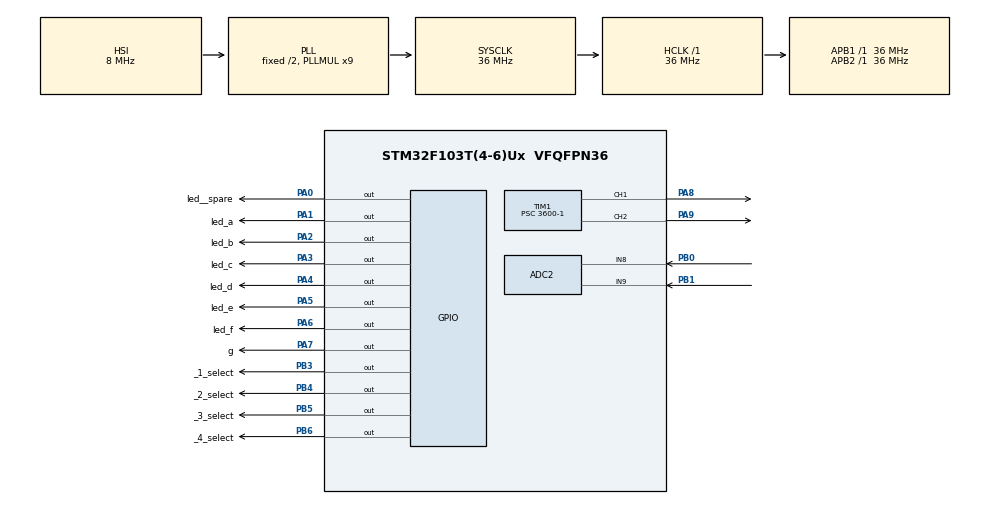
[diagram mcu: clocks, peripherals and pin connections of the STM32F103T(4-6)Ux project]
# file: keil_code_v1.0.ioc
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ADC2.Channel-0\#ChannelRegularConversion=ADC_CHANNEL_9
ADC2.NbrOfConversionFlag=1
ADC2.Rank-0\#ChannelRegularConversion=1
ADC2.SamplingTime-0\#ChannelRegularConversion=ADC_SAMPLETIME_1CYCLE_5
Mcu.Family=STM32F1
Mcu.Name=STM32F103T(4-6)Ux
Mcu.Package=VFQFPN36
NVIC.PriorityGroup=NVIC_PRIORITYGROUP_4
PA0-WKUP.GPIO_Label=led__spare
PA0-WKUP.Signal=GPIO_Output
PA1.GPIO_Label=led_a
PA1.Signal=GPIO_Output
PA13.Mode=Serial_Wire
PA13.Signal=SYS_JTMS-SWDIO
PA14.Mode=Serial_Wire
PA14.Signal=SYS_JTCK-SWCLK
PA2.GPIO_Label=led_b
PA2.Signal=GPIO_Output
PA3.GPIO_Label=led_c
PA3.Signal=GPIO_Output
PA4.GPIO_Label=led_d
PA4.Signal=GPIO_Output
PA5.GPIO_Label=led_e
PA5.Signal=GPIO_Output
PA6.GPIO_Label=led_f
PA6.Signal=GPIO_Output
PA7.GPIO_Label=g
PA7.Signal=GPIO_Output
PA8.Signal=S_TIM1_CH1
PA9.Signal=S_TIM1_CH2
PB0.Signal=ADCx_IN8
PB1.Signal=ADCx_IN9
PB3.GPIO_Label=_1_select
PB3.PinState=GPIO_PIN_SET
PB3.Signal=GPIO_Output
PB4.GPIO_Label=_2_select
PB4.PinState=GPIO_PIN_SET
PB4.Signal=GPIO_Output
PB5.GPIO_Label=_3_select
PB5.PinState=GPIO_PIN_SET
PB5.Signal=GPIO_Output
PB6.GPIO_Label=_4_select
PB6.PinState=GPIO_PIN_SET
PB6.Signal=GPIO_Output
ProjectManager.HeapSize=0x200
ProjectManager.StackSize=0x400
ProjectManager.TargetToolchain=MDK-ARM V5.32
RCC.ADCPresc=RCC_ADCPCLK2_DIV4
RCC.AHBFreq_Value=36000000
RCC.APB1Freq_Value=36000000
RCC.APB1TimFreq_Value=36000000
RCC.APB2Freq_Value=36000000
RCC.APB2TimFreq_Value=36000000
RCC.HCLKFreq_Value=36000000
RCC.PLLMUL=RCC_PLL_MUL9
RCC.SYSCLKFreq_VALUE=36000000
RCC.SYSCLKSource=RCC_SYSCLKSOURCE_PLLCLK
RCC.USBFreq_Value=36000000
SH.ADCx_IN8.0=ADC2_IN8,IN8
SH.ADCx_IN9.0=ADC2_IN9,IN9
SH.S_TIM1_CH1.0=TIM1_CH1,PWM Generation1 CH1
SH.S_TIM1_CH2.0=TIM1_CH2,PWM Generation2 CH2
TIM1.AutoReloadPreload=TIM_AUTORELOAD_PRELOAD_ENABLE
TIM1.Channel-PWM\ Generation1\ CH1=TIM_CHANNEL_1
TIM1.Channel-PWM\ Generation2\ CH2=TIM_CHANNEL_2
TIM1.Period=100-1
TIM1.Prescaler=3600-1
TIM1.Pulse-PWM\ Generation1\ CH1=50
TIM1.Pulse-PWM\ Generation2\ CH2=80
VP_TIM1_VS_ClockSourceINT.Mode=Internal
board=custom

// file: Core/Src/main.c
/* USER CODE BEGIN Header */
/**
  ******************************************************************************
  * @file           : main.c
  * @brief          : Main program body
  ******************************************************************************
  * @attention
  *
  * <h2><center>&copy; Copyright (c) 2021 STMicroelectronics.
  * All rights reserved.</center></h2>
  *
  * This software component is licensed by ST under BSD 3-Clause license,
  * the "License"; You may not use this file except in compliance with the
  * License. You may obtain a copy of the License at:
  *                        opensource.org/licenses/BSD-3-Clause
  *
  ******************************************************************************
  */
/* USER CODE END Header */
#include "main.h"
#include "adc.h"
#include "tim.h"
#include "gpio.h"

/* USER CODE BEGIN PD */
//void number_display(int _num){

////	switch (_num){
////		case 1:
////			//0110000
//		HAL_GPIO_WritePin(GPIOA,GPIO_PIN_1,GPIO_PIN_RESET);
//		HAL_GPIO_WritePin(GPIOA,GPIO_PIN_2,GPIO_PIN_SET);
//		HAL_GPIO_WritePin(GPIOA,GPIO_PIN_3,GPIO_PIN_SET);
//		HAL_GPIO_WritePin(GPIOA,GPIO_PIN_4,GPIO_PIN_RESET);
//		HAL_GPIO_WritePin(GPIOA,GPIO_PIN_5,GPIO_PIN_RESET);
//		HAL_GPIO_WritePin(GPIOA,GPIO_PIN_6,GPIO_PIN_RESET);
//		HAL_GPIO_WritePin(GPIOA,GPIO_PIN_7,GPIO_PIN_RESET);
	//	break;

//		case 2:
//			//1101101
//		HAL_GPIO_WritePin(GPIOA,GPIO_PIN_1,GPIO_PIN_SET);
//		HAL_GPIO_WritePin(GPIOA,GPIO_PIN_2,GPIO_PIN_SET);
//		HAL_GPIO_WritePin(GPIOA,GPIO_PIN_3,GPIO_PIN_RESET);
//		HAL_GPIO_WritePin(GPIOA,GPIO_PIN_4,GPIO_PIN_SET);
//		HAL_GPIO_WritePin(GPIOA,GPIO_PIN_5,GPIO_PIN_SET);
//		HAL_GPIO_WritePin(GPIOA,GPIO_PIN_6,GPIO_PIN_RESET);
//		HAL_GPIO_WritePin(GPIOA,GPIO_PIN_7,GPIO_PIN_SET);
//		break;
////
//		case 3:
//		HAL_GPIO_WritePin(GPIOA,GPIO_PIN_1,GPIO_PIN_SET);
//		HAL_GPIO_WritePin(GPIOA,GPIO_PIN_2,GPIO_PIN_SET);
//		HAL_GPIO_WritePin(GPIOA,GPIO_PIN_3,GPIO_PIN_SET);
//		HAL_GPIO_WritePin(GPIOA,GPIO_PIN_4,GPIO_PIN_SET);
//		HAL_GPIO_WritePin(GPIOA,GPIO_PIN_5,GPIO_PIN_SET);
//		HAL_GPIO_WritePin(GPIOA,GPIO_PIN_6,GPIO_PIN_SET);
//		HAL_GPIO_WritePin(GPIOA,GPIO_PIN_7,GPIO_PIN_SET);
//		break;
//
//		case 4:
//		HAL_GPIO_WritePin(GPIOA,GPIO_PIN_1,GPIO_PIN_SET);
//		HAL_GPIO_WritePin(GPIOA,GPIO_PIN_2,GPIO_PIN_SET);
//		HAL_GPIO_WritePin(GPIOA,GPIO_PIN_3,GPIO_PIN_SET);
//		HAL_GPIO_WritePin(GPIOA,GPIO_PIN_4,GPIO_PIN_SET);
//		HAL_GPIO_WritePin(GPIOA,GPIO_PIN_5,GPIO_PIN_SET);
//		HAL_GPIO_WritePin(GPIOA,GPIO_PIN_6,GPIO_PIN_SET);
//		HAL_GPIO_WritePin(GPIOA,GPIO_PIN_7,GPIO_PIN_SET);
//		break;
//
//		case 5:
//		HAL_GPIO_WritePin(GPIOA,GPIO_PIN_1,GPIO_PIN_SET);
//		HAL_GPIO_WritePin(GPIOA,GPIO_PIN_2,GPIO_PIN_SET);
//		HAL_GPIO_WritePin(GPIOA,GPIO_PIN_3,GPIO_PIN_SET);
//		HAL_GPIO_WritePin(GPIOA,GPIO_PIN_4,GPIO_PIN_SET);
//		HAL_GPIO_WritePin(GPIOA,GPIO_PIN_5,GPIO_PIN_SET);
//		HAL_GPIO_WritePin(GPIOA,GPIO_PIN_6,GPIO_PIN_SET);
//		HAL_GPIO_WritePin(GPIOA,GPIO_PIN_7,GPIO_PIN_SET);
//		break;
//
//		case 6:
//		HAL_GPIO_WritePin(GPIOA,GPIO_PIN_1,GPIO_PIN_SET);
//		HAL_GPIO_WritePin(GPIOA,GPIO_PIN_2,GPIO_PIN_SET);
//		HAL_GPIO_WritePin(GPIOA,GPIO_PIN_3,GPIO_PIN_SET);
//		HAL_GPIO_WritePin(GPIOA,GPIO_PIN_4,GPIO_PIN_SET);
//		HAL_GPIO_WritePin(GPIOA,GPIO_PIN_5,GPIO_PIN_SET);
//		HAL_GPIO_WritePin(GPIOA,GPIO_PIN_6,GPIO_PIN_SET);
//		HAL_GPIO_WritePin(GPIOA,GPIO_PIN_7,GPIO_PIN_SET);
//		break;
//
//		case 7:
//		HAL_GPIO_WritePin(GPIOA,GPIO_PIN_1,GPIO_PIN_SET);
//		HAL_GPIO_WritePin(GPIOA,GPIO_PIN_2,GPIO_PIN_SET);
//		HAL_GPIO_WritePin(GPIOA,GPIO_PIN_3,GPIO_PIN_SET);
//		HAL_GPIO_WritePin(GPIOA,GPIO_PIN_4,GPIO_PIN_SET);
//		HAL_GPIO_WritePin(GPIOA,GPIO_PIN_5,GPIO_PIN_SET);
//		HAL_GPIO_WritePin(GPIOA,GPIO_PIN_6,GPIO_PIN_SET);
//		HAL_GPIO_WritePin(GPIOA,GPIO_PIN_7,GPIO_PIN_SET);
//		break;
//
//		case 8:
//		HAL_GPIO_WritePin(GPIOA,GPIO_PIN_1,GPIO_PIN_SET);
//		HAL_GPIO_WritePin(GPIOA,GPIO_PIN_2,GPIO_PIN_SET);
//		HAL_GPIO_WritePin(GPIOA,GPIO_PIN_3,GPIO_PIN_SET);
//		HAL_GPIO_WritePin(GPIOA,GPIO_PIN_4,GPIO_PIN_SET);
//		HAL_GPIO_WritePin(GPIOA,GPIO_PIN_5,GPIO_PIN_SET);
//		HAL_GPIO_WritePin(GPIOA,GPIO_PIN_6,GPIO_PIN_SET);
//		HAL_GPIO_WritePin(GPIOA,GPIO_PIN_7,GPIO_PIN_SET);
//		break;
//
//		case 9:
//		HAL_GPIO_WritePin(GPIOA,GPIO_PIN_1,GPIO_PIN_SET);
//		HAL_GPIO_WritePin(GPIOA,GPIO_PIN_2,GPIO_PIN_SET);
//		HAL_GPIO_WritePin(GPIOA,GPIO_PIN_3,GPIO_PIN_SET);
//		HAL_GPIO_WritePin(GPIOA,GPIO_PIN_4,GPIO_PIN_SET);
//		HAL_GPIO_WritePin(GPIOA,GPIO_PIN_5,GPIO_PIN_SET);
//		HAL_GPIO_WritePin(GPIOA,GPIO_PIN_6,GPIO_PIN_SET);
//		HAL_GPIO_WritePin(GPIOA,GPIO_PIN_7,GPIO_PIN_SET);
//
//		break;
//		default:
//			break;
//	}
//
//}
/* USER CODE END PD */

void SystemClock_Config(void);

/* USER CODE BEGIN 0 */
void number_display(int _num);
/* USER CODE END 0 */

int main(void)
{

  /* MCU Configuration--------------------------------------------------------*/

  /* Reset of all peripherals, Initializes the Flash interface and the Systick. */
  HAL_Init();

  /* Configure the system clock */
  SystemClock_Config();

  /* Initialize all configured peripherals */
  MX_GPIO_Init();
  MX_TIM1_Init();
  MX_ADC2_Init();
  /* USER CODE BEGIN 2 */

	HAL_TIM_PWM_Start(&htim1,TIM_CHANNEL_1);
	HAL_TIM_PWM_Start(&htim1,TIM_CHANNEL_2);
  /* USER CODE END 2 */

  /* Infinite loop */
  /* USER CODE BEGIN WHILE */

	int _funny_time=100;
  while (1)
  {

		number_display(1);

//		HAL_GPIO_WritePin(GPIOA,GPIO_PIN_1,GPIO_PIN_SET);
//		HAL_GPIO_WritePin(GPIOA,GPIO_PIN_2,GPIO_PIN_SET);
//		HAL_GPIO_WritePin(GPIOA,GPIO_PIN_3,GPIO_PIN_SET);
//		HAL_GPIO_WritePin(GPIOA,GPIO_PIN_4,GPIO_PIN_SET);
//		HAL_GPIO_WritePin(GPIOA,GPIO_PIN_5,GPIO_PIN_SET);
//		HAL_GPIO_WritePin(GPIOA,GPIO_PIN_6,GPIO_PIN_SET);
//		HAL_GPIO_WritePin(GPIOA,GPIO_PIN_7,GPIO_PIN_SET);

		HAL_GPIO_WritePin(GPIOB,GPIO_PIN_3,GPIO_PIN_RESET); //3 _led1
		HAL_Delay(_funny_time);
		HAL_GPIO_WritePin(GPIOB,GPIO_PIN_3,GPIO_PIN_SET);
		//HAL_Delay(1);

		HAL_GPIO_WritePin(GPIOB,GPIO_PIN_4,GPIO_PIN_RESET);  //4 _led2
		HAL_Delay(_funny_time);
		HAL_GPIO_WritePin(GPIOB,GPIO_PIN_4,GPIO_PIN_SET);
		//HAL_Delay(1);

		HAL_GPIO_WritePin(GPIOB,GPIO_PIN_5,GPIO_PIN_RESET); //5  _led3
		HAL_Delay(_funny_time);
		HAL_GPIO_WritePin(GPIOB,GPIO_PIN_5,GPIO_PIN_SET);
		//HAL_Delay(1);

		HAL_GPIO_WritePin(GPIOB,GPIO_PIN_6,GPIO_PIN_RESET); //6  _led4
		HAL_Delay(_funny_time);
		HAL_GPIO_WritePin(GPIOB,GPIO_PIN_6,GPIO_PIN_SET);
		//HAL_Delay(1);
    /* USER CODE END WHILE */

  }
}

void SystemClock_Config(void)
{
  RCC_OscInitTypeDef RCC_OscInitStruct = {0};
  RCC_ClkInitTypeDef RCC_ClkInitStruct = {0};
  RCC_PeriphCLKInitTypeDef PeriphClkInit = {0};

  /** Initializes the RCC Oscillators according to the specified parameters
  * in the RCC_OscInitTypeDef structure.
  */
  RCC_OscInitStruct.OscillatorType = RCC_OSCILLATORTYPE_HSI;
  RCC_OscInitStruct.HSIState = RCC_HSI_ON;
  RCC_OscInitStruct.HSICalibrationValue = RCC_HSICALIBRATION_DEFAULT;
  RCC_OscInitStruct.PLL.PLLState = RCC_PLL_ON;
  RCC_OscInitStruct.PLL.PLLSource = RCC_PLLSOURCE_HSI_DIV2;
  RCC_OscInitStruct.PLL.PLLMUL = RCC_PLL_MUL9;
  if (HAL_RCC_OscConfig(&RCC_OscInitStruct) != HAL_OK)
  {
    Error_Handler();
  }
  /** Initializes the CPU, AHB and APB buses clocks
  */
  RCC_ClkInitStruct.ClockType = RCC_CLOCKTYPE_HCLK|RCC_CLOCKTYPE_SYSCLK
                              |RCC_CLOCKTYPE_PCLK1|RCC_CLOCKTYPE_PCLK2;
  RCC_ClkInitStruct.SYSCLKSource = RCC_SYSCLKSOURCE_PLLCLK;
  RCC_ClkInitStruct.AHBCLKDivider = RCC_SYSCLK_DIV1;
  RCC_ClkInitStruct.APB1CLKDivider = RCC_HCLK_DIV1;
  RCC_ClkInitStruct.APB2CLKDivider = RCC_HCLK_DIV1;

  if (HAL_RCC_ClockConfig(&RCC_ClkInitStruct, FLASH_LATENCY_1) != HAL_OK)
  {
    Error_Handler();
  }
  PeriphClkInit.PeriphClockSelection = RCC_PERIPHCLK_ADC;
  PeriphClkInit.AdcClockSelection = RCC_ADCPCLK2_DIV4;
  if (HAL_RCCEx_PeriphCLKConfig(&PeriphClkInit) != HAL_OK)
  {
    Error_Handler();
  }
}

/* USER CODE BEGIN 4 */

void number_display(int _num){

	switch (_num){
		case 1:
			//0110000
		HAL_GPIO_WritePin(GPIOA,GPIO_PIN_1,GPIO_PIN_RESET);
		HAL_GPIO_WritePin(GPIOA,GPIO_PIN_2,GPIO_PIN_SET);
		HAL_GPIO_WritePin(GPIOA,GPIO_PIN_3,GPIO_PIN_SET);
		HAL_GPIO_WritePin(GPIOA,GPIO_PIN_4,GPIO_PIN_RESET);
		HAL_GPIO_WritePin(GPIOA,GPIO_PIN_5,GPIO_PIN_RESET);
		HAL_GPIO_WritePin(GPIOA,GPIO_PIN_6,GPIO_PIN_RESET);
		HAL_GPIO_WritePin(GPIOA,GPIO_PIN_7,GPIO_PIN_RESET);
		break;

		case 2:
			//1101101
		HAL_GPIO_WritePin(GPIOA,GPIO_PIN_1,GPIO_PIN_SET);
		HAL_GPIO_WritePin(GPIOA,GPIO_PIN_2,GPIO_PIN_SET);
		HAL_GPIO_WritePin(GPIOA,GPIO_PIN_3,GPIO_PIN_RESET);
		HAL_GPIO_WritePin(GPIOA,GPIO_PIN_4,GPIO_PIN_SET);
		HAL_GPIO_WritePin(GPIOA,GPIO_PIN_5,GPIO_PIN_SET);
		HAL_GPIO_WritePin(GPIOA,GPIO_PIN_6,GPIO_PIN_RESET);
		HAL_GPIO_WritePin(GPIOA,GPIO_PIN_7,GPIO_PIN_SET);
		break;
//
		case 3:
		HAL_GPIO_WritePin(GPIOA,GPIO_PIN_1,GPIO_PIN_SET);
		HAL_GPIO_WritePin(GPIOA,GPIO_PIN_2,GPIO_PIN_SET);
		HAL_GPIO_WritePin(GPIOA,GPIO_PIN_3,GPIO_PIN_SET);
		HAL_GPIO_WritePin(GPIOA,GPIO_PIN_4,GPIO_PIN_SET);
		HAL_GPIO_WritePin(GPIOA,GPIO_PIN_5,GPIO_PIN_SET);
		HAL_GPIO_WritePin(GPIOA,GPIO_PIN_6,GPIO_PIN_SET);
		HAL_GPIO_WritePin(GPIOA,GPIO_PIN_7,GPIO_PIN_SET);
		break;

		case 4:
		HAL_GPIO_WritePin(GPIOA,GPIO_PIN_1,GPIO_PIN_SET);
		HAL_GPIO_WritePin(GPIOA,GPIO_PIN_2,GPIO_PIN_SET);
		HAL_GPIO_WritePin(GPIOA,GPIO_PIN_3,GPIO_PIN_SET);
		HAL_GPIO_WritePin(GPIOA,GPIO_PIN_4,GPIO_PIN_SET);
		HAL_GPIO_WritePin(GPIOA,GPIO_PIN_5,GPIO_PIN_SET);
		HAL_GPIO_WritePin(GPIOA,GPIO_PIN_6,GPIO_PIN_SET);
		HAL_GPIO_WritePin(GPIOA,GPIO_PIN_7,GPIO_PIN_SET);
		break;

		case 5:
		HAL_GPIO_WritePin(GPIOA,GPIO_PIN_1,GPIO_PIN_SET);
		HAL_GPIO_WritePin(GPIOA,GPIO_PIN_2,GPIO_PIN_SET);
		HAL_GPIO_WritePin(GPIOA,GPIO_PIN_3,GPIO_PIN_SET);
		HAL_GPIO_WritePin(GPIOA,GPIO_PIN_4,GPIO_PIN_SET);
		HAL_GPIO_WritePin(GPIOA,GPIO_PIN_5,GPIO_PIN_SET);
		HAL_GPIO_WritePin(GPIOA,GPIO_PIN_6,GPIO_PIN_SET);
		HAL_GPIO_WritePin(GPIOA,GPIO_PIN_7,GPIO_PIN_SET);
		break;

		case 6:
		HAL_GPIO_WritePin(GPIOA,GPIO_PIN_1,GPIO_PIN_SET);
		HAL_GPIO_WritePin(GPIOA,GPIO_PIN_2,GPIO_PIN_SET);
		HAL_GPIO_WritePin(GPIOA,GPIO_PIN_3,GPIO_PIN_SET);
		HAL_GPIO_WritePin(GPIOA,GPIO_PIN_4,GPIO_PIN_SET);
		HAL_GPIO_WritePin(GPIOA,GPIO_PIN_5,GPIO_PIN_SET);
		HAL_GPIO_WritePin(GPIOA,GPIO_PIN_6,GPIO_PIN_SET);
		HAL_GPIO_WritePin(GPIOA,GPIO_PIN_7,GPIO_PIN_SET);
		break;

		case 7:
		HAL_GPIO_WritePin(GPIOA,GPIO_PIN_1,GPIO_PIN_SET);
		HAL_GPIO_WritePin(GPIOA,GPIO_PIN_2,GPIO_PIN_SET);
		HAL_GPIO_WritePin(GPIOA,GPIO_PIN_3,GPIO_PIN_SET);
		HAL_GPIO_WritePin(GPIOA,GPIO_PIN_4,GPIO_PIN_SET);
		HAL_GPIO_WritePin(GPIOA,GPIO_PIN_5,GPIO_PIN_SET);
		HAL_GPIO_WritePin(GPIOA,GPIO_PIN_6,GPIO_PIN_SET);
		HAL_GPIO_WritePin(GPIOA,GPIO_PIN_7,GPIO_PIN_SET);
		break;

		case 8:
		HAL_GPIO_WritePin(GPIOA,GPIO_PIN_1,GPIO_PIN_SET);
		HAL_GPIO_WritePin(GPIOA,GPIO_PIN_2,GPIO_PIN_SET);
		HAL_GPIO_WritePin(GPIOA,GPIO_PIN_3,GPIO_PIN_SET);
		HAL_GPIO_WritePin(GPIOA,GPIO_PIN_4,GPIO_PIN_SET);
		HAL_GPIO_WritePin(GPIOA,GPIO_PIN_5,GPIO_PIN_SET);
		HAL_GPIO_WritePin(GPIOA,GPIO_PIN_6,GPIO_PIN_SET);
		HAL_GPIO_WritePin(GPIOA,GPIO_PIN_7,GPIO_PIN_SET);
		break;

		case 9:
		HAL_GPIO_WritePin(GPIOA,GPIO_PIN_1,GPIO_PIN_SET);
		HAL_GPIO_WritePin(GPIOA,GPIO_PIN_2,GPIO_PIN_SET);
		HAL_GPIO_WritePin(GPIOA,GPIO_PIN_3,GPIO_PIN_SET);
		HAL_GPIO_WritePin(GPIOA,GPIO_PIN_4,GPIO_PIN_SET);
		HAL_GPIO_WritePin(GPIOA,GPIO_PIN_5,GPIO_PIN_SET);
		HAL_GPIO_WritePin(GPIOA,GPIO_PIN_6,GPIO_PIN_SET);
		HAL_GPIO_WritePin(GPIOA,GPIO_PIN_7,GPIO_PIN_SET);

		break;

	}

}

/* USER CODE END 4 */

void Error_Handler(void)
{
  __disable_irq();
  while (1)
  {
  }
}

/************************ (C) COPYRIGHT STMicroelectronics *****END OF FILE****/
